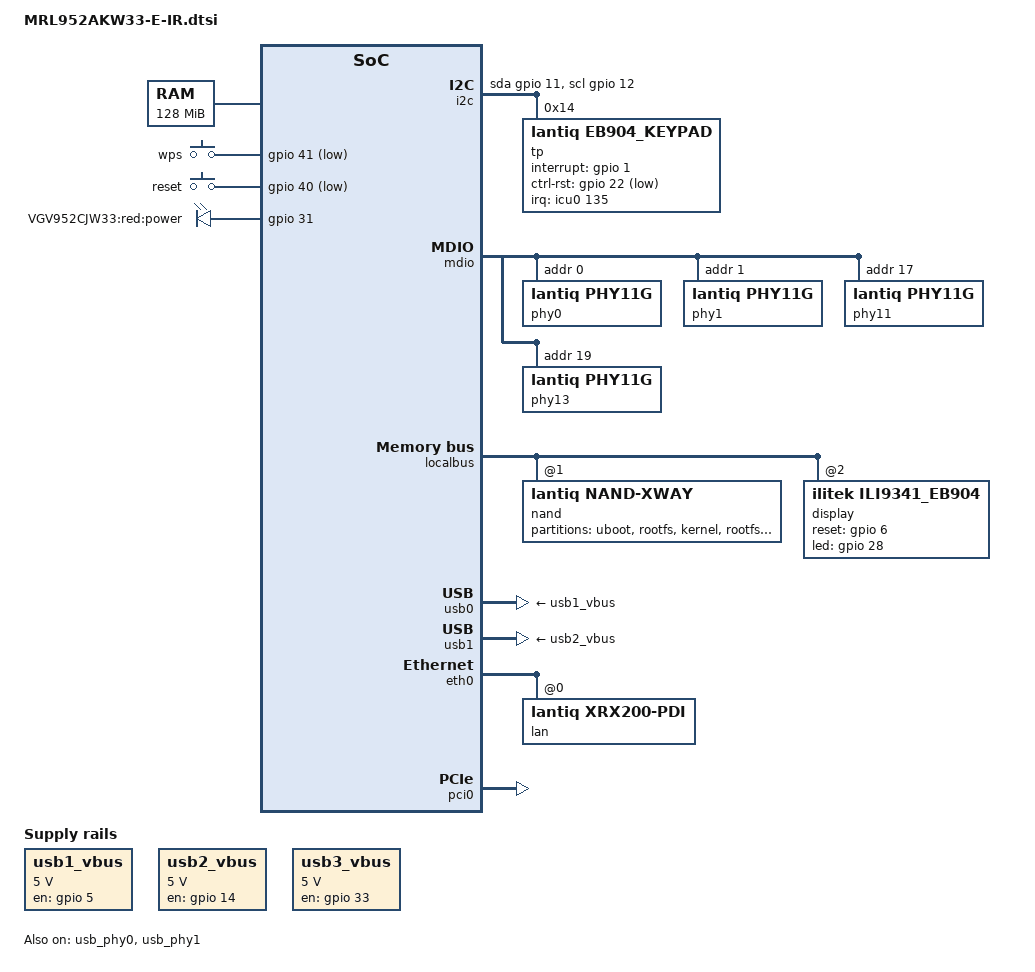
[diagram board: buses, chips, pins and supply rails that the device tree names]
#include "vr9.dtsi"

#include <dt-bindings/input/input.h>
#include <dt-bindings/mips/lantiq_rcu_gphy.h>


/ {
	memory@0 {
		reg = <0x0 0x8000000>;
	};

	gpio-keys-polled {
		compatible = "gpio-keys-polled";
		#address-cells = <1>;
	 	#size-cells = <0>;
		poll-interval = <100>;
		rfkill {
			label = "wps";
			gpios = <&gpio 41 GPIO_ACTIVE_LOW>;
			linux,code = <KEY_WPS_BUTTON>;
		};
		reset {
			label = "reset";
			gpios = <&gpio 40 GPIO_ACTIVE_LOW>;
			linux,code = <KEY_RESTART>;
		};
	};

	usb1_vbus: regulator-usb1-vbus {
		compatible = "regulator-fixed";

		regulator-name = "USB_1_VBUS";

		regulator-min-microvolt = <5000000>;
		regulator-max-microvolt = <5000000>;

		gpio = <&gpio 5 GPIO_ACTIVE_HIGH>;
		enable-active-high;
	};

	usb2_vbus: regulator-usb2-vbus {
		compatible = "regulator-fixed";

		regulator-name = "USB_2_VBUS";

		regulator-min-microvolt = <5000000>;
		regulator-max-microvolt = <5000000>;

		gpio = <&gpio 14 GPIO_ACTIVE_HIGH>;
		enable-active-high;
	};

// Power supply for USB port on VT6212. We can control it, with VT6212 so make it on permanently.
	usb3_vbus: regulator-usb3-vbus {
		compatible = "regulator-fixed";

		regulator-name = "USB_3_VBUS";

		regulator-min-microvolt = <5000000>;
		regulator-max-microvolt = <5000000>;

		gpio = <&gpio 33 GPIO_ACTIVE_HIGH>;
		enable-active-high;
		regulator-always-on;
	};

	gpio-leds {
		compatible = "gpio-leds";

		power_green: power {
		label = "VGV952CJW33:red:power";
		gpios = <&gpio 31 GPIO_ACTIVE_HIGH>;
		default-state = "keep";
		};
	};
	
    i2c {
        /* touch buttons located on GPIOs 1, 11, 12, 22*/
		compatible = "i2c-gpio";
		#address-cells = <1>;
		#size-cells = <0>;
		gpios = <&gpio 11 GPIO_ACTIVE_HIGH /* sda */
			&gpio 12 GPIO_ACTIVE_HIGH /* scl */>;
		//i2c-gpio,sda-open-drain;
		//i2c-gpio,scl-open-drain;
		i2c-gpio,delay-us = <5>;
		/* Add touch panel Support */
		tp: eb904tp@0x14 {
			compatible = "lantiq,eb904_keypad";
			reg = <0x14>;
			interrupt-parent = <&icu0>;
			interrupts = <135>;
			eb904,interrupt-gpio = <&gpio  1 GPIO_ACTIVE_HIGH /* EXIN */>;
			eb904,ctrl-rst-gpio = <&gpio 22 GPIO_ACTIVE_LOW /* rst */>;
			eb904,alphas = /bits/ 8
				 <0x07 /* left */
				  0x0a /* down */
				  0x0a /* right */
				  0x0a /* ok */
				  0x07 /* up */
			>;
			keypad,num-rows = <3>;
			keypad,num-columns = <3>;
			linux,keymap = <
				    MATRIX_KEY(0x0, 0x1, KEY_UP)         /* ROW0, COL1 */
				    MATRIX_KEY(0x1, 0x0, KEY_LEFT)       /* ROW1, COL0 */
				    MATRIX_KEY(0x1, 0x1, KEY_ENTER)      /* ROW1, COL1 */
				    MATRIX_KEY(0x1, 0x2, KEY_RIGHT)      /* ROW1, COL2 */
				    MATRIX_KEY(0x2, 0x1, KEY_DOWN)       /* ROW2, COL1 */
				    >;
		};
	};

	mdio: mdio {
		compatible = "lantiq,xrx200-mdio";
		#address-cells = <1>;
		#size-cells = <0>;
		phy0: ethernet-phy@0 {
			reg = <0x0>;
			compatible = "lantiq,phy11g", "ethernet-phy-ieee802.3-c22";
		};
		phy1: ethernet-phy@1 {
			reg = <0x1>;
			compatible = "lantiq,phy11g", "ethernet-phy-ieee802.3-c22";
		};
		phy11: ethernet-phy@11 {
			reg = <0x11>;
			compatible = "lantiq,phy11g", "ethernet-phy-ieee802.3-c22";
		};
		phy13: ethernet-phy@13 {
			reg = <0x13>;
			compatible = "lantiq,phy11g", "ethernet-phy-ieee802.3-c22";
		};
	};
};

//&vmmc {
//	status = "okay";
//	gpios = <&gpio 37 GPIO_ACTIVE_HIGH>; //reset_slic! Check for LTE
//};

&localbus {
    //	#address-cells = <2>;					// Just for info. From vr9.dtsi
    //	#size-cells = <1>;
    //	ranges = <0 0 0x0       0x3ffffff			// addrsel0	0x3ffffff and 0x4000010 in vr9.dtsi seem to be wrong, because these are size
    //    	  1 0 0x4000000 0x4000010>;			// addrsel1	parameters. Not really a problem; the drivers we have use their own hardcoded values

	ranges = <0 0 0x0       0x2000000			// addrsel0	Was set up this way by arcadian eb904 U-Boot for nand. Not used by eb904 linux
		  1 0 0x2000000 0x1000000			// addrsel1	Size 0x1000000 hardcoded in xway_nand.c. Excessive, as first 0x80 is used only
		  2 0 0x3000000 0x0000800>;			// addrsel2	Size 0x800 hardcoded in display driver. This is the min size supported by ebu

	nand@1 {						// @1 because using ebu BUSCON1/ADDSEL1
		compatible = "lantiq,nand-xway";
		reg = <1 0x0 0x80>;				// Only adresses 0x0..0x7F needed (but driver ignores size 0x80 and tells ebu to map 0x1000000)

		#address-cells = <1>;
		#size-cells = <1>;
		lantiq,cs = <1>;				// Seems to be needed (EASY80920NAND.dts)

		nand-on-flash-bbt;
		customized-samsung-K9F4G08U0x;

		partitions {
		compatible = "fixed-partitions";
			#address-cells = <1>;
			#size-cells = <1>;

		partition@0 {
				label = "uboot";
				reg = <0x0 0x40000>;
			};

			partition@40000 {
				label = "rootfs";		// Called "rootfs" in original u-boot env.
				reg = <0x40000 0x1E00000>;	// Auto mounted as rootfs if no UBI volume named "rootfs" exists
			};

			partition@1E40000 {
				label = "kernel";		// Called "kernel" in original u-boot env.
				reg = <0x1E40000 0x400000>;
			};

			partition@2240000 {
				label = "rootfs2";
				reg = <0x2240000 0x1e00000>;
			};

			partition@4040000 {
				label = "kernel2";
				reg = <0x4040000 0x400000>;
			};

			partition@4440000 {
				label = "sysconfig";
				reg = <0x4440000 0x100000>;
			};

			partition@4540000 {
				label = "ubootconfig";
				reg = <0x4540000 0x100000>;
			};

			partition@4640000 {
				label = "fwdiag";
				reg = <0x4640000 0xC0000>;
			};

			partition@4700000 {
				label = "lcdimage";
				reg = <0x4700000 0x300000>;
			};

			partition@4A00000 {
				label = "mfgconfig";
				reg = <0x4A00000 0x100000>;
			};

			partition@4B00000 {
				label = "sipdata";
				reg = <0x4B00000 0x100000>;
			};

			partition@4C00000 {
				label = "voice";
				reg = <0x4C00000 0x4000000>;
			};

			partition@8C00000 {			// Called "misc" in original u-boot env.
				label = "misc";			// Rename to "ubi" for auto ubi attachment and usage of rootfs, rootfs_data, kernel volumes
				reg = <0x8C00000 0x15300000>;	// Rename to "firmware" for special squashfs-rootfs/jffs2-rootfs_data treatment
			};

			partition@1DF00000 {
				label = "ltefw";
    			reg = <0x1DF00000 0x2000000>;
			};
            partition@1FF00000 {
                label = "mystery";      // Missing in original u-boot environment, seems to be empty (erased)
                reg = <0x1FF00000 0x100000>;
            };

		};
	};
    
	display@2 {						// @2 because using ebu BUSCON2/ADDSEL2. Name not 'easybox904-display',
		compatible = "ilitek,ili9341_eb904";		// see 'Node Names' at https://elinux.org/Device_Tree_Usage
		reg = <2 0x0 0x4>;				// Size 0x4 contains 2 byte data and 2 byte command registers
		status = "okay";
		rotate = <270>;
		fps = <30>;
		bgr;
		buswidth = <8>;
		reset-gpios = <&gpio 6 GPIO_ACTIVE_HIGH>;
		led-gpios = <&gpio 28 GPIO_ACTIVE_HIGH>;
		debug = <1>;
	};
};

/*
*  Following is the very experimental part which is broken and requires much more elaboration
*/

&gpio {
	pinctrl-names = "default";
	pinctrl-0 = <&state_default>;

	state_default: pinmux {
		mdio {
			lantiq,groups = "mdio";
			lantiq,function = "mdio";
		};

		lte-rst {
		   	lantiq,pins = "io20";
			lantiq,output = <1>;
			lantiq,open-drain = <0>;
			lantiq,pull = <2>;
		};
		pci_rst {
			lantiq,pins = "io21";
			lantiq,output = <1>;
			lantiq,open-drain = <0>;
			lantiq,pull = <2>;
		};
		pci_in {
			lantiq,groups = "req3";
			lantiq,function = "pci";
			lantiq,pull = <2>;
			lantiq,output = <0>;
		};
		pci_out {
			lantiq,groups = "gnt3";
			lantiq,function = "pci";
			lantiq,open-drain = <1>;
			lantiq,output = <1>;
		};

		tp-rst {
		   	lantiq,pins = "io22";
			lantiq,output = <1>;
			lantiq,open-drain = <0>;
			lantiq,pull = <2>;
		};

		inic-rst {
		   	lantiq,pins = "io30";
			lantiq,output = <1>;
			lantiq,open-drain = <0>;
			lantiq,pull = <2>;
		};

		tp_exin {
			lantiq,groups = "exin1";
			lantiq,function = "exin";
		};

		conf_tp {
			lantiq,pins = "io1"; /* exin1 */
			lantiq,pull = <0>;
		};

// Seems that original LTE fw uses this pin as SMI# interrupt.
// Modern UHCI driver disable this functionality. 
		ehci_exin {
//			lantiq,groups = "exin3";
//			lantiq,function = "exin";
		   	lantiq,pins = "io39";
			lantiq,pull = <2>;
			lantiq,output = <1>;
		};
	};
};

&usb_phy0 {
	status = "okay";
};

&usb_phy1 {
	status = "okay";
};

&usb0 {
	status = "okay";
	vbus-supply = <&usb1_vbus>;
};

&usb1 {
	status = "okay";
	vbus-supply = <&usb2_vbus>;
};

&eth0 {
	lan: interface@0 {
		compatible = "lantiq,xrx200-pdi";
		#address-cells = <1>;
		#size-cells = <0>;
		reg = <0>;
		mac-address = [ 00 11 22 33 44 55 ];
		lantiq,switch;
		ethernet@0 { // external PHY
			compatible = "lantiq,xrx200-pdi-port";
			reg = <0>;
			phy-mode = "rgmii";
			phy-handle = <&phy0>;
			
		};
		ethernet@1 { // external PHY
			compatible = "lantiq,xrx200-pdi-port";
			reg = <1>;
			phy-mode = "rgmii";
			phy-handle = <&phy1>;
			
		};
        ethernet@3 { //internal PHY
			compatible = "lantiq,xrx200-pdi-port";
			reg = <3>;
			phy-mode = "gmii";
			phy-handle = <&phy11>;
		};
        ethernet@4 { // internal PHY
			compatible = "lantiq,xrx200-pdi-port";
			reg = <4>;
			phy-mode = "gmii";
			phy-handle = <&phy13>;
		};
		/* rt3883 soc */
		ethernet@5 {
			compatible = "lantiq,xrx200-pdi-port";
			reg = <5>;
			phy-mode = "rgmii";
			tx-delay = <3>;
			fixed-link {
				speed = <1000>;
				full-duplex;
			};
        };
	};
};

&pci0 {
	status = "ok";
	gpio-reset = <&gpio 21 GPIO_ACTIVE_HIGH>;
	interrupt-map-mask = <0xfb00 0x0 0x0 0x7>;
	interrupt-map = <   0x7000 0 0 1 &icu0 30
						0x7100 0 0 2 &icu0 40
						0x7200 0 0 3 &icu0 41 
	>; /* slot 14, irq 40 */
	req-mask = <0x4>; /* GNT3 */
};

&pcie0 {
    status = "disabled";
};
